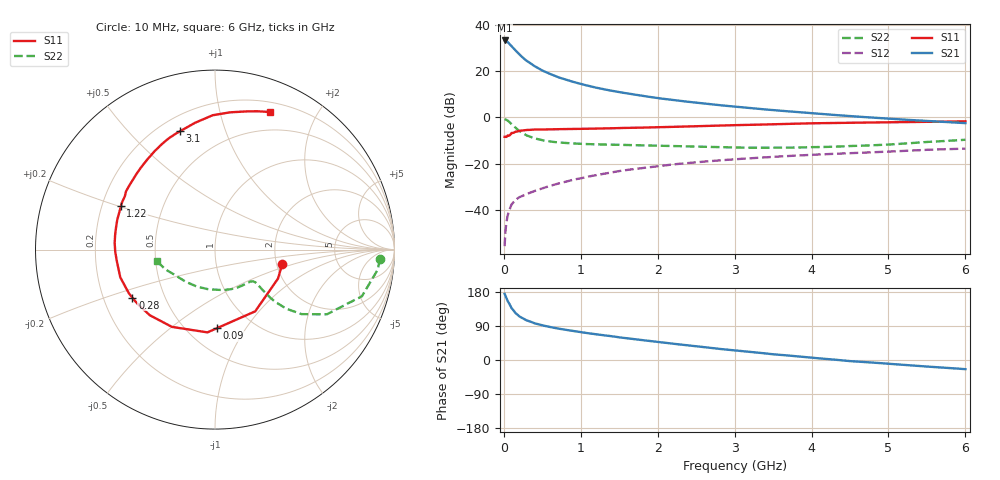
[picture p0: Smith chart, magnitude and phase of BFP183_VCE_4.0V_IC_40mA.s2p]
! Infineon Technologies  Discrete & RF Semiconductors
! BFP183
! VCE = 4.0 V,  IC =  40 mA
! Common Emitter S-Parameters:  Jan 2016
# GHz  S  MA  R  50
!  f  S11  S21  S12  S22
! GHz  MAG  ANG  MAG  ANG  MAG  ANG  MAG  ANG
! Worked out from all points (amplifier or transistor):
!   210 points, 10 MHz to 6 GHz, reference 50 ohm
!   highest |S21| = 33.1 dB at 10 MHz (marker M1)
!   |S21| within 3 dB of that: start of sweep to 115.9 MHz
!   unconditionally stable (mu >= 1): 501.7 MHz to 5.839 GHz
!   at 185 MHz: K = 0.56, MSG = 31.2 dB, |S12| = -34.7 dB
!   at 1.52 GHz: K = 1.21, MAG = 14.1 dB, |S12| = -23.0 dB
!   at 6 GHz: K = 0.98, MSG = 5.5 dB, |S12| = -13.4 dB
!   S11 on the Smith chart (normalised r, x): 10 MHz: 2.15, -0.40; 90 MHz: 0.69, -0.75; 280 MHz: 0.33, -0.24; 1.22 GHz: 0.28, +0.20; 3.1 GHz: 0.28, +0.71; 6 GHz: 0.30, +1.43
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0.01  0.3832 -12.1  45.38 174.7  0.0017 77.7  0.9219 -3.2
0.02  0.3864 -24.7  45.05 169.9  0.0034 79.6  0.9127 -7.1
0.05  0.4105 -56.9  42.11 155.4  0.0078 73.6  0.8589 -17.6
0.09  0.4379 -88.5  35.58 141.2  0.0122 61.3  0.7449 -27.2
0.1  0.4631 -95.2  34.37 136.9  0.0134 59.5  0.7203 -30.0
0.15  0.4929 -119.1  27.82 124.1  0.0167 53.6  0.6017 -36.7
0.2  0.5154 -134.8  22.84 115.3  0.0192 52.4  0.5146 -39.7
0.24  0.5238 -142.9  19.82 110.4  0.0204 50.9  0.466 -40.6
0.28  0.5325 -149.8  17.47 106.3  0.0218 51.2  0.4267 -41.0
0.3  0.538 -153.0  16.41 104.2  0.0226 51.6  0.4085 -41.0
0.4  0.5499 -163.7  12.68 96.8  0.0262 54.3  0.3548 -40.4
0.5  0.5504 -172.2  10.22 91.4  0.0298 54.7  0.323 -39.7
0.7  0.5602 176.2  7.393 83.1  0.0375 58.0  0.2905 -39.0
0.8  0.5625 171.5  6.534 79.7  0.041 58.2  0.2826 -39.3
1.02  0.5697 162.3  5.148 72.9  0.0499 59.3  0.2699 -40.9
1.22  0.5778 155.2  4.306 67.5  0.0582 58.9  0.2635 -43.2
1.52  0.5933 146.1  3.465 59.3  0.071 57.7  0.2568 -47.8
2.02  0.617 131.5  2.583 47.3  0.0903 53.7  0.2472 -57.9
3.1  0.6874 106.5  1.651 23.5  0.1291 43.7  0.2244 -87.0
4.1  0.7518 89.5  1.2 4.3  0.1601 34.1  0.2307 -119.8
5.1  0.7903 77.0  0.92 -11.3  0.1872 26.0  0.2672 -148.8
6  0.8252 68.3  0.755 -24.2  0.2137 17.2  0.3311 -168.9
